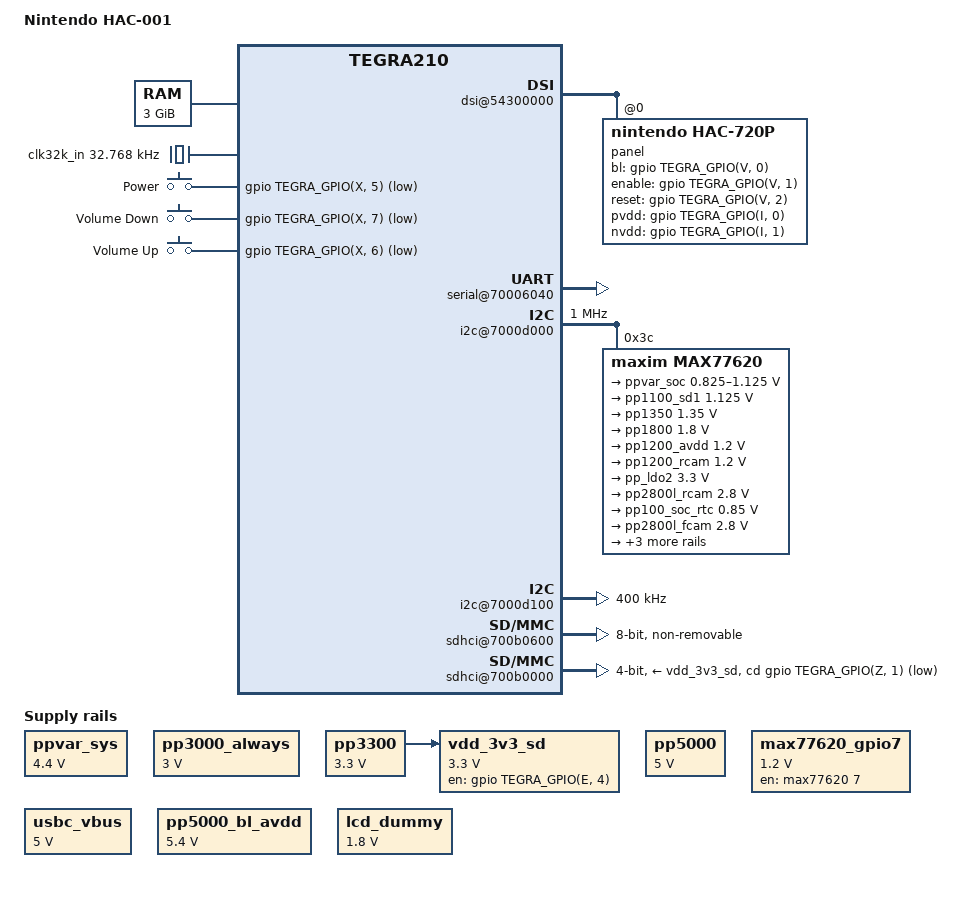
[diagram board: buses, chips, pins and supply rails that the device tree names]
// SPDX-License-Identifier: GPL-2.0
/dts-v1/;

#include <dt-bindings/input/input.h>
#include <dt-bindings/mfd/max77620.h>
#include <dt-bindings/pinctrl/pinctrl-tegra.h>

#include "tegra210.dtsi"

/ {
	model = "Nintendo HAC-001";
	compatible = "nintendo,hac", "nvidia,tegra210";

	aliases {
		serial0 = &uartb;
	};

	chosen {
		bootargs = "earlycon";
		stdout-path = "serial0:115200n8";
	};

	memory {
		device_type = "memory";
		reg = <0x0 0x80000000 0x0 0xc0000000>;
	};

	host1x@50000000 {
		dpaux: dpaux@545c0000 {
			status = "okay";
			
			vdd-supply = <&pp3300>;
		};
	};

	pinmux: pinmux@700008d4 {
		status = "okay";
		pinctrl-names = "default";
		pinctrl-0 = <&pinmux_default>;

		pinmux_default: pinmux {
			/* SFIO Pin Configuration */
			aud_mclk_pbb0 {
				nvidia,pins = "aud_mclk_pbb0";
				nvidia,function = "aud";
				nvidia,pull = <TEGRA_PIN_PULL_NONE>;
				nvidia,tristate = <TEGRA_PIN_DISABLE>;
				nvidia,enable-input = <TEGRA_PIN_DISABLE>;
			};

			dvfs_pwm_pbb1 {
				nvidia,pins = "dvfs_pwm_pbb1";
				nvidia,function = "cldvfs";
				nvidia,pull = <TEGRA_PIN_PULL_NONE>;
				nvidia,tristate = <TEGRA_PIN_ENABLE>;
				nvidia,enable-input = <TEGRA_PIN_DISABLE>;
			};

			dap1_din_pb1 {
				nvidia,pins = "dap1_din_pb1";
				nvidia,function = "i2s1";
				nvidia,pull = <TEGRA_PIN_PULL_NONE>;
				nvidia,tristate = <TEGRA_PIN_DISABLE>;
				nvidia,enable-input = <TEGRA_PIN_ENABLE>;
			};

			dap1_dout_pb2 {
				nvidia,pins = "dap1_dout_pb2";
				nvidia,function = "i2s1";
				nvidia,pull = <TEGRA_PIN_PULL_NONE>;
				nvidia,tristate = <TEGRA_PIN_DISABLE>;
				nvidia,enable-input = <TEGRA_PIN_ENABLE>;
			};

			dap1_fs_pb0 {
				nvidia,pins = "dap1_fs_pb0";
				nvidia,function = "i2s1";
				nvidia,pull = <TEGRA_PIN_PULL_NONE>;
				nvidia,tristate = <TEGRA_PIN_DISABLE>;
				nvidia,enable-input = <TEGRA_PIN_ENABLE>;
			};

			dap1_sclk_pb3 {
				nvidia,pins = "dap1_sclk_pb3";
				nvidia,function = "i2s1";
				nvidia,pull = <TEGRA_PIN_PULL_NONE>;
				nvidia,tristate = <TEGRA_PIN_DISABLE>;
				nvidia,enable-input = <TEGRA_PIN_ENABLE>;
			};

			dmic1_clk_pe0 {
				nvidia,pins = "dmic1_clk_pe0";
				nvidia,function = "dmic1";
				nvidia,pull = <TEGRA_PIN_PULL_NONE>;
				nvidia,tristate = <TEGRA_PIN_DISABLE>;
				nvidia,enable-input = <TEGRA_PIN_DISABLE>;
			};

			dmic1_dat_pe1 {
				nvidia,pins = "dmic1_dat_pe1";
				nvidia,function = "dmic1";
				nvidia,pull = <TEGRA_PIN_PULL_DOWN>;
				nvidia,tristate = <TEGRA_PIN_DISABLE>;
				nvidia,enable-input = <TEGRA_PIN_ENABLE>;
			};

			dmic2_clk_pe2 {
				nvidia,pins = "dmic2_clk_pe2";
				nvidia,function = "dmic2";
				nvidia,pull = <TEGRA_PIN_PULL_NONE>;
				nvidia,tristate = <TEGRA_PIN_DISABLE>;
				nvidia,enable-input = <TEGRA_PIN_DISABLE>;
			};

			dmic2_dat_pe3 {
				nvidia,pins = "dmic2_dat_pe3";
				nvidia,function = "dmic2";
				nvidia,pull = <TEGRA_PIN_PULL_DOWN>;
				nvidia,tristate = <TEGRA_PIN_DISABLE>;
				nvidia,enable-input = <TEGRA_PIN_ENABLE>;
			};

			dmic3_clk_pe4 {
				nvidia,pins = "dmic3_clk_pe4";
				nvidia,pull = <TEGRA_PIN_PULL_NONE>;
				nvidia,tristate = <TEGRA_PIN_DISABLE>;
				nvidia,enable-input = <TEGRA_PIN_ENABLE>;
				nvidia,open-drain = <TEGRA_PIN_DISABLE>;
			};

			dmic3_dat_pe5 {
				nvidia,pins = "dmic3_dat_pe5";
				nvidia,function = "rsvd2";
				nvidia,pull = <TEGRA_PIN_PULL_NONE>;
				nvidia,tristate = <TEGRA_PIN_DISABLE>;
				nvidia,enable-input = <TEGRA_PIN_DISABLE>;
			};

			gen3_i2c_scl_pf0 {
				nvidia,pins = "gen3_i2c_scl_pf0";
				nvidia,function = "i2c3";
				nvidia,pull = <TEGRA_PIN_PULL_NONE>;
				nvidia,tristate = <TEGRA_PIN_DISABLE>;
				nvidia,enable-input = <TEGRA_PIN_ENABLE>;
				nvidia,io-high-voltage = <TEGRA_PIN_DISABLE>;
			};

			gen3_i2c_sda_pf1 {
				nvidia,pins = "gen3_i2c_sda_pf1";
				nvidia,function = "i2c3";
				nvidia,pull = <TEGRA_PIN_PULL_NONE>;
				nvidia,tristate = <TEGRA_PIN_DISABLE>;
				nvidia,enable-input = <TEGRA_PIN_ENABLE>;
				nvidia,io-high-voltage = <TEGRA_PIN_DISABLE>;
			};

			cam_i2c_scl_ps2 {
				nvidia,pins = "cam_i2c_scl_ps2";
				nvidia,function = "i2cvi";
				nvidia,pull = <TEGRA_PIN_PULL_NONE>;
				nvidia,tristate = <TEGRA_PIN_DISABLE>;
				nvidia,enable-input = <TEGRA_PIN_ENABLE>;
				nvidia,io-high-voltage = <TEGRA_PIN_DISABLE>;
			};

			cam_i2c_sda_ps3 {
				nvidia,pins = "cam_i2c_sda_ps3";
				nvidia,function = "i2cvi";
				nvidia,pull = <TEGRA_PIN_PULL_NONE>;
				nvidia,tristate = <TEGRA_PIN_DISABLE>;
				nvidia,enable-input = <TEGRA_PIN_ENABLE>;
				nvidia,io-high-voltage = <TEGRA_PIN_DISABLE>;
			};

			cam1_mclk_ps0 {
				nvidia,pins = "cam1_mclk_ps0";
				nvidia,function = "extperiph3";
				nvidia,pull = <TEGRA_PIN_PULL_NONE>;
				nvidia,tristate = <TEGRA_PIN_DISABLE>;
				nvidia,enable-input = <TEGRA_PIN_DISABLE>;
			};

			cam2_mclk_ps1 {
				nvidia,pins = "cam2_mclk_ps1";
				nvidia,function = "rsvd1";
				nvidia,pull = <TEGRA_PIN_PULL_NONE>;
				nvidia,tristate = <TEGRA_PIN_DISABLE>;
				nvidia,enable-input = <TEGRA_PIN_ENABLE>;
			};

			pex_l0_clkreq_n_pa1 {
				nvidia,pins = "pex_l0_clkreq_n_pa1";
				nvidia,function = "pe0";
				nvidia,pull = <TEGRA_PIN_PULL_NONE>;
				nvidia,tristate = <TEGRA_PIN_DISABLE>;
				nvidia,enable-input = <TEGRA_PIN_ENABLE>;
				nvidia,io-high-voltage = <TEGRA_PIN_ENABLE>;
			};

			pex_l0_rst_n_pa0 {
				nvidia,pins = "pex_l0_rst_n_pa0";
				nvidia,function = "pe0";
				nvidia,pull = <TEGRA_PIN_PULL_NONE>;
				nvidia,tristate = <TEGRA_PIN_DISABLE>;
				nvidia,enable-input = <TEGRA_PIN_DISABLE>;
				nvidia,io-high-voltage = <TEGRA_PIN_ENABLE>;
			};

			pex_l1_clkreq_n_pa4 {
				nvidia,pins = "pex_l1_clkreq_n_pa4";
				nvidia,function = "pe1";
				nvidia,pull = <TEGRA_PIN_PULL_NONE>;
				nvidia,tristate = <TEGRA_PIN_DISABLE>;
				nvidia,enable-input = <TEGRA_PIN_ENABLE>;
				nvidia,io-high-voltage = <TEGRA_PIN_ENABLE>;
			};

			pex_l1_rst_n_pa3 {
				nvidia,pins = "pex_l1_rst_n_pa3";
				nvidia,function = "pe1";
				nvidia,pull = <TEGRA_PIN_PULL_NONE>;
				nvidia,tristate = <TEGRA_PIN_DISABLE>;
				nvidia,enable-input = <TEGRA_PIN_DISABLE>;
				nvidia,io-high-voltage = <TEGRA_PIN_ENABLE>;
			};

			pex_wake_n_pa2 {
				nvidia,pins = "pex_wake_n_pa2";
				nvidia,function = "pe";
				nvidia,pull = <TEGRA_PIN_PULL_NONE>;
				nvidia,tristate = <TEGRA_PIN_DISABLE>;
				nvidia,enable-input = <TEGRA_PIN_ENABLE>;
				nvidia,io-high-voltage = <TEGRA_PIN_ENABLE>;
			};

			sdmmc1_clk_pm0 {
				nvidia,pins = "sdmmc1_clk_pm0";
				nvidia,function = "sdmmc1";
				nvidia,pull = <TEGRA_PIN_PULL_NONE>;
				nvidia,tristate = <TEGRA_PIN_DISABLE>;
				nvidia,enable-input = <TEGRA_PIN_ENABLE>;
			};

			sdmmc1_cmd_pm1 {
				nvidia,pins = "sdmmc1_cmd_pm1";
				nvidia,function = "sdmmc1";
				nvidia,pull = <TEGRA_PIN_PULL_UP>;
				nvidia,tristate = <TEGRA_PIN_DISABLE>;
				nvidia,enable-input = <TEGRA_PIN_ENABLE>;
			};

			sdmmc1_dat0_pm5 {
				nvidia,pins = "sdmmc1_dat0_pm5";
				nvidia,function = "sdmmc1";
				nvidia,pull = <TEGRA_PIN_PULL_UP>;
				nvidia,tristate = <TEGRA_PIN_DISABLE>;
				nvidia,enable-input = <TEGRA_PIN_ENABLE>;
			};

			sdmmc1_dat1_pm4 {
				nvidia,pins = "sdmmc1_dat1_pm4";
				nvidia,function = "sdmmc1";
				nvidia,pull = <TEGRA_PIN_PULL_UP>;
				nvidia,tristate = <TEGRA_PIN_DISABLE>;
				nvidia,enable-input = <TEGRA_PIN_ENABLE>;
			};

			sdmmc1_dat2_pm3 {
				nvidia,pins = "sdmmc1_dat2_pm3";
				nvidia,function = "sdmmc1";
				nvidia,pull = <TEGRA_PIN_PULL_UP>;
				nvidia,tristate = <TEGRA_PIN_DISABLE>;
				nvidia,enable-input = <TEGRA_PIN_ENABLE>;
			};

			sdmmc1_dat3_pm2 {
				nvidia,pins = "sdmmc1_dat3_pm2";
				nvidia,function = "sdmmc1";
				nvidia,pull = <TEGRA_PIN_PULL_UP>;
				nvidia,tristate = <TEGRA_PIN_DISABLE>;
				nvidia,enable-input = <TEGRA_PIN_ENABLE>;
			};

			sdmmc3_clk_pp0 {
				nvidia,pins = "sdmmc3_clk_pp0";
				nvidia,function = "sdmmc3";
				nvidia,pull = <TEGRA_PIN_PULL_NONE>;
				nvidia,tristate = <TEGRA_PIN_DISABLE>;
				nvidia,enable-input = <TEGRA_PIN_DISABLE>;
			};

			sdmmc3_cmd_pp1 {
				nvidia,pins = "sdmmc3_cmd_pp1";
				nvidia,function = "sdmmc3";
				nvidia,pull = <TEGRA_PIN_PULL_UP>;
				nvidia,tristate = <TEGRA_PIN_DISABLE>;
				nvidia,enable-input = <TEGRA_PIN_ENABLE>;
			};

			sdmmc3_dat0_pp5 {
				nvidia,pins = "sdmmc3_dat0_pp5";
				nvidia,function = "sdmmc3";
				nvidia,pull = <TEGRA_PIN_PULL_UP>;
				nvidia,tristate = <TEGRA_PIN_DISABLE>;
				nvidia,enable-input = <TEGRA_PIN_ENABLE>;
			};

			sdmmc3_dat1_pp4 {
				nvidia,pins = "sdmmc3_dat1_pp4";
				nvidia,function = "sdmmc3";
				nvidia,pull = <TEGRA_PIN_PULL_UP>;
				nvidia,tristate = <TEGRA_PIN_DISABLE>;
				nvidia,enable-input = <TEGRA_PIN_ENABLE>;
			};

			sdmmc3_dat2_pp3 {
				nvidia,pins = "sdmmc3_dat2_pp3";
				nvidia,function = "sdmmc3";
				nvidia,pull = <TEGRA_PIN_PULL_UP>;
				nvidia,tristate = <TEGRA_PIN_DISABLE>;
				nvidia,enable-input = <TEGRA_PIN_ENABLE>;
			};

			sdmmc3_dat3_pp2 {
				nvidia,pins = "sdmmc3_dat3_pp2";
				nvidia,function = "sdmmc3";
				nvidia,pull = <TEGRA_PIN_PULL_UP>;
				nvidia,tristate = <TEGRA_PIN_DISABLE>;
				nvidia,enable-input = <TEGRA_PIN_ENABLE>;
			};

			shutdown {
				nvidia,pins = "shutdown";
				nvidia,function = "shutdown";
				nvidia,pull = <TEGRA_PIN_PULL_NONE>;
				nvidia,tristate = <TEGRA_PIN_DISABLE>;
				nvidia,enable-input = <TEGRA_PIN_DISABLE>;
			};

			lcd_te_py2 {
				nvidia,pins = "lcd_te_py2";
				nvidia,function = "displaya";
				nvidia,pull = <TEGRA_PIN_PULL_DOWN>;
				nvidia,tristate = <TEGRA_PIN_DISABLE>;
				nvidia,enable-input = <TEGRA_PIN_ENABLE>;
			};

			lcd_bl_pwm_pv0 {
				nvidia,pins = "lcd_bl_pwm_pv0";
				nvidia,function = "pwm0";
				nvidia,pull = <TEGRA_PIN_PULL_NONE>;
				nvidia,tristate = <TEGRA_PIN_DISABLE>;
				nvidia,enable-input = <TEGRA_PIN_DISABLE>;
			};

			lcd_gpio2_pv4 {
				nvidia,pins = "lcd_gpio2_pv4";
				nvidia,function = "pwm1";
				nvidia,pull = <TEGRA_PIN_PULL_NONE>;
				nvidia,tristate = <TEGRA_PIN_DISABLE>;
				nvidia,enable-input = <TEGRA_PIN_DISABLE>;
			};

			pwr_i2c_scl_py3 {
				nvidia,pins = "pwr_i2c_scl_py3";
				nvidia,function = "i2cpmu";
				nvidia,pull = <TEGRA_PIN_PULL_NONE>;
				nvidia,tristate = <TEGRA_PIN_DISABLE>;
				nvidia,enable-input = <TEGRA_PIN_ENABLE>;
				nvidia,io-high-voltage = <TEGRA_PIN_DISABLE>;
			};

			pwr_i2c_sda_py4 {
				nvidia,pins = "pwr_i2c_sda_py4";
				nvidia,function = "i2cpmu";
				nvidia,pull = <TEGRA_PIN_PULL_NONE>;
				nvidia,tristate = <TEGRA_PIN_DISABLE>;
				nvidia,enable-input = <TEGRA_PIN_ENABLE>;
				nvidia,io-high-voltage = <TEGRA_PIN_DISABLE>;
			};

			clk_32k_in {
				nvidia,pins = "clk_32k_in";
				nvidia,function = "clk";
				nvidia,pull = <TEGRA_PIN_PULL_NONE>;
				nvidia,tristate = <TEGRA_PIN_DISABLE>;
				nvidia,enable-input = <TEGRA_PIN_ENABLE>;
			};

			clk_32k_out_py5 {
				nvidia,pins = "clk_32k_out_py5";
				nvidia,function = "soc";
				nvidia,pull = <TEGRA_PIN_PULL_UP>;
				nvidia,tristate = <TEGRA_PIN_DISABLE>;
				nvidia,enable-input = <TEGRA_PIN_ENABLE>;
			};

			pz1 {
				nvidia,pins = "pz1";
				nvidia,function = "sdmmc1";
				nvidia,pull = <TEGRA_PIN_PULL_UP>;
				nvidia,tristate = <TEGRA_PIN_DISABLE>;
				nvidia,enable-input = <TEGRA_PIN_ENABLE>;
			};

			pz4 {
				nvidia,pins = "pz4";
				nvidia,function = "rsvd1";
				nvidia,pull = <TEGRA_PIN_PULL_NONE>;
				nvidia,tristate = <TEGRA_PIN_DISABLE>;
				nvidia,enable-input = <TEGRA_PIN_DISABLE>;
			};

			pz5 {
				nvidia,pins = "pz5";
				nvidia,function = "soc";
				nvidia,pull = <TEGRA_PIN_PULL_UP>;
				nvidia,tristate = <TEGRA_PIN_DISABLE>;
				nvidia,enable-input = <TEGRA_PIN_ENABLE>;
			};

			clk_req {
				nvidia,pins = "clk_req";
				nvidia,function = "sys";
				nvidia,pull = <TEGRA_PIN_PULL_NONE>;
				nvidia,tristate = <TEGRA_PIN_DISABLE>;
				nvidia,enable-input = <TEGRA_PIN_DISABLE>;
			};

			core_pwr_req {
				nvidia,pins = "core_pwr_req";
				nvidia,function = "core";
				nvidia,pull = <TEGRA_PIN_PULL_NONE>;
				nvidia,tristate = <TEGRA_PIN_DISABLE>;
				nvidia,enable-input = <TEGRA_PIN_DISABLE>;
			};

			cpu_pwr_req {
				nvidia,pins = "cpu_pwr_req";
				nvidia,function = "cpu";
				nvidia,pull = <TEGRA_PIN_PULL_NONE>;
				nvidia,tristate = <TEGRA_PIN_DISABLE>;
				nvidia,enable-input = <TEGRA_PIN_DISABLE>;
			};

			pwr_int_n {
				nvidia,pins = "pwr_int_n";
				nvidia,function = "pmi";
				nvidia,pull = <TEGRA_PIN_PULL_UP>;
				nvidia,tristate = <TEGRA_PIN_DISABLE>;
				nvidia,enable-input = <TEGRA_PIN_ENABLE>;
			};

			dap4_din_pj5 {
				nvidia,pins = "dap4_din_pj5";
				nvidia,function = "i2s4b";
				nvidia,pull = <TEGRA_PIN_PULL_NONE>;
				nvidia,tristate = <TEGRA_PIN_DISABLE>;
				nvidia,enable-input = <TEGRA_PIN_ENABLE>;
			};

			dap4_dout_pj6 {
				nvidia,pins = "dap4_dout_pj6";
				nvidia,function = "i2s4b";
				nvidia,pull = <TEGRA_PIN_PULL_NONE>;
				nvidia,tristate = <TEGRA_PIN_DISABLE>;
				nvidia,enable-input = <TEGRA_PIN_ENABLE>;
			};

			dap4_fs_pj4 {
				nvidia,pins = "dap4_fs_pj4";
				nvidia,function = "i2s4b";
				nvidia,pull = <TEGRA_PIN_PULL_NONE>;
				nvidia,tristate = <TEGRA_PIN_DISABLE>;
				nvidia,enable-input = <TEGRA_PIN_ENABLE>;
			};

			dap4_sclk_pj7 {
				nvidia,pins = "dap4_sclk_pj7";
				nvidia,function = "i2s4b";
				nvidia,pull = <TEGRA_PIN_PULL_NONE>;
				nvidia,tristate = <TEGRA_PIN_DISABLE>;
				nvidia,enable-input = <TEGRA_PIN_DISABLE>;
			};

			gen1_i2c_scl_pj1 {
				nvidia,pins = "gen1_i2c_scl_pj1";
				nvidia,function = "i2c1";
				nvidia,pull = <TEGRA_PIN_PULL_NONE>;
				nvidia,tristate = <TEGRA_PIN_DISABLE>;
				nvidia,enable-input = <TEGRA_PIN_ENABLE>;
				nvidia,io-high-voltage = <TEGRA_PIN_DISABLE>;
			};

			gen1_i2c_sda_pj0 {
				nvidia,pins = "gen1_i2c_sda_pj0";
				nvidia,function = "i2c1";
				nvidia,pull = <TEGRA_PIN_PULL_NONE>;
				nvidia,tristate = <TEGRA_PIN_DISABLE>;
				nvidia,enable-input = <TEGRA_PIN_ENABLE>;
				nvidia,io-high-voltage = <TEGRA_PIN_DISABLE>;
			};

			gen2_i2c_scl_pj2 {
				nvidia,pins = "gen2_i2c_scl_pj2";
				nvidia,function = "i2c2";
				nvidia,pull = <TEGRA_PIN_PULL_NONE>;
				nvidia,tristate = <TEGRA_PIN_DISABLE>;
				nvidia,enable-input = <TEGRA_PIN_ENABLE>;
				nvidia,io-high-voltage = <TEGRA_PIN_ENABLE>;
			};

			gen2_i2c_sda_pj3 {
				nvidia,pins = "gen2_i2c_sda_pj3";
				nvidia,function = "i2c2";
				nvidia,pull = <TEGRA_PIN_PULL_NONE>;
				nvidia,tristate = <TEGRA_PIN_DISABLE>;
				nvidia,enable-input = <TEGRA_PIN_ENABLE>;
				nvidia,io-high-voltage = <TEGRA_PIN_ENABLE>;
			};

			uart1_tx_pu0 {
				nvidia,pins = "uart1_tx_pu0";
				nvidia,function = "uarta";
				nvidia,pull = <TEGRA_PIN_PULL_NONE>;
				nvidia,tristate = <TEGRA_PIN_DISABLE>;
				nvidia,enable-input = <TEGRA_PIN_DISABLE>;
			};

			uart1_rx_pu1 {
				nvidia,pins = "uart1_rx_pu1";
				nvidia,function = "uarta";
				nvidia,pull = <TEGRA_PIN_PULL_UP>;
				nvidia,tristate = <TEGRA_PIN_DISABLE>;
				nvidia,enable-input = <TEGRA_PIN_ENABLE>;
			};

			uart1_rts_pu2 {
				nvidia,pins = "uart1_rts_pu2";
				nvidia,function = "uarta";
				nvidia,pull = <TEGRA_PIN_PULL_NONE>;
				nvidia,tristate = <TEGRA_PIN_DISABLE>;
				nvidia,enable-input = <TEGRA_PIN_DISABLE>;
			};

			uart1_cts_pu3 {
				nvidia,pins = "uart1_cts_pu3";
				nvidia,function = "uarta";
				nvidia,pull = <TEGRA_PIN_PULL_UP>;
				nvidia,tristate = <TEGRA_PIN_DISABLE>;
				nvidia,enable-input = <TEGRA_PIN_ENABLE>;
			};

			jtag_rtck {
				nvidia,pins = "jtag_rtck";
				nvidia,function = "jtag";
				nvidia,pull = <TEGRA_PIN_PULL_NONE>;
				nvidia,tristate = <TEGRA_PIN_DISABLE>;
				nvidia,enable-input = <TEGRA_PIN_DISABLE>;
			};

			pk0 {
				nvidia,pins = "pk0";
				nvidia,function = "i2s5b";
				nvidia,pull = <TEGRA_PIN_PULL_UP>;
				nvidia,tristate = <TEGRA_PIN_DISABLE>;
				nvidia,enable-input = <TEGRA_PIN_ENABLE>;
			};

			pk1 {
				nvidia,pins = "pk1";
				nvidia,function = "i2s5b";
				nvidia,pull = <TEGRA_PIN_PULL_UP>;
				nvidia,tristate = <TEGRA_PIN_DISABLE>;
				nvidia,enable-input = <TEGRA_PIN_ENABLE>;
			};

			pk2 {
				nvidia,pins = "pk2";
				nvidia,function = "i2s5b";
				nvidia,pull = <TEGRA_PIN_PULL_UP>;
				nvidia,tristate = <TEGRA_PIN_DISABLE>;
				nvidia,enable-input = <TEGRA_PIN_ENABLE>;
			};

			pk3 {
				nvidia,pins = "pk3";
				nvidia,function = "i2s5b";
				nvidia,pull = <TEGRA_PIN_PULL_UP>;
				nvidia,tristate = <TEGRA_PIN_DISABLE>;
				nvidia,enable-input = <TEGRA_PIN_ENABLE>;
			};

			pl1 {
				nvidia,pins = "pl1";
				nvidia,function = "soc";
				nvidia,pull = <TEGRA_PIN_PULL_UP>;
				nvidia,tristate = <TEGRA_PIN_DISABLE>;
				nvidia,enable-input = <TEGRA_PIN_ENABLE>;
			};

			spi1_mosi_pc0 {
				nvidia,pins = "spi1_mosi_pc0";
				nvidia,function = "spi1";
				nvidia,pull = <TEGRA_PIN_PULL_DOWN>;
				nvidia,tristate = <TEGRA_PIN_DISABLE>;
				nvidia,enable-input = <TEGRA_PIN_ENABLE>;
			};

			spi1_miso_pc1 {
				nvidia,pins = "spi1_miso_pc1";
				nvidia,function = "spi1";
				nvidia,pull = <TEGRA_PIN_PULL_DOWN>;
				nvidia,tristate = <TEGRA_PIN_DISABLE>;
				nvidia,enable-input = <TEGRA_PIN_ENABLE>;
			};

			spi1_sck_pc2 {
				nvidia,pins = "spi1_sck_pc2";
				nvidia,function = "spi1";
				nvidia,pull = <TEGRA_PIN_PULL_DOWN>;
				nvidia,tristate = <TEGRA_PIN_DISABLE>;
				nvidia,enable-input = <TEGRA_PIN_ENABLE>;
			};

			spi1_cs0_pc3 {
				nvidia,pins = "spi1_cs0_pc3";
				nvidia,function = "spi1";
				nvidia,pull = <TEGRA_PIN_PULL_UP>;
				nvidia,tristate = <TEGRA_PIN_DISABLE>;
				nvidia,enable-input = <TEGRA_PIN_ENABLE>;
			};

			spi1_cs1_pc4 {
				nvidia,pins = "spi1_cs1_pc4";
				nvidia,function = "spi1";
				nvidia,pull = <TEGRA_PIN_PULL_UP>;
				nvidia,tristate = <TEGRA_PIN_DISABLE>;
				nvidia,enable-input = <TEGRA_PIN_ENABLE>;
			};

			spi4_mosi_pc7 {
				nvidia,pins = "spi4_mosi_pc7";
				nvidia,function = "spi4";
				nvidia,pull = <TEGRA_PIN_PULL_NONE>;
				nvidia,tristate = <TEGRA_PIN_DISABLE>;
				nvidia,enable-input = <TEGRA_PIN_DISABLE>;
			};

			spi4_miso_pd0 {
				nvidia,pins = "spi4_miso_pd0";
				nvidia,function = "spi4";
				nvidia,pull = <TEGRA_PIN_PULL_NONE>;
				nvidia,tristate = <TEGRA_PIN_DISABLE>;
				nvidia,enable-input = <TEGRA_PIN_ENABLE>;
			};

			spi4_sck_pc5 {
				nvidia,pins = "spi4_sck_pc5";
				nvidia,function = "spi4";
				nvidia,pull = <TEGRA_PIN_PULL_NONE>;
				nvidia,tristate = <TEGRA_PIN_DISABLE>;
				nvidia,enable-input = <TEGRA_PIN_DISABLE>;
			};

			spi4_cs0_pc6 {
				nvidia,pins = "spi4_cs0_pc6";
				nvidia,function = "spi4";
				nvidia,pull = <TEGRA_PIN_PULL_NONE>;
				nvidia,tristate = <TEGRA_PIN_DISABLE>;
				nvidia,enable-input = <TEGRA_PIN_DISABLE>;
			};

			uart3_tx_pd1 {
				nvidia,pins = "uart3_tx_pd1";
				nvidia,function = "uartc";
				nvidia,pull = <TEGRA_PIN_PULL_NONE>;
				nvidia,tristate = <TEGRA_PIN_DISABLE>;
				nvidia,enable-input = <TEGRA_PIN_DISABLE>;
			};

			uart3_rx_pd2 {
				nvidia,pins = "uart3_rx_pd2";
				nvidia,function = "uartc";
				nvidia,pull = <TEGRA_PIN_PULL_UP>;
				nvidia,tristate = <TEGRA_PIN_DISABLE>;
				nvidia,enable-input = <TEGRA_PIN_ENABLE>;
			};

			uart3_rts_pd3 {
				nvidia,pins = "uart3_rts_pd3";
				nvidia,function = "uartc";
				nvidia,pull = <TEGRA_PIN_PULL_NONE>;
				nvidia,tristate = <TEGRA_PIN_DISABLE>;
				nvidia,enable-input = <TEGRA_PIN_DISABLE>;
			};

			uart3_cts_pd4 {
				nvidia,pins = "uart3_cts_pd4";
				nvidia,function = "uartc";
				nvidia,pull = <TEGRA_PIN_PULL_UP>;
				nvidia,tristate = <TEGRA_PIN_DISABLE>;
				nvidia,enable-input = <TEGRA_PIN_ENABLE>;
			};

			uart4_tx_pi4 {
				nvidia,pins = "uart4_tx_pi4";
				nvidia,function = "uartd";
				nvidia,pull = <TEGRA_PIN_PULL_NONE>;
				nvidia,tristate = <TEGRA_PIN_DISABLE>;
				nvidia,enable-input = <TEGRA_PIN_DISABLE>;
			};

			uart4_rx_pi5 {
				nvidia,pins = "uart4_rx_pi5";
				nvidia,function = "uartd";
				nvidia,pull = <TEGRA_PIN_PULL_NONE>;
				nvidia,tristate = <TEGRA_PIN_DISABLE>;
				nvidia,enable-input = <TEGRA_PIN_ENABLE>;
			};

			uart4_rts_pi6 {
				nvidia,pins = "uart4_rts_pi6";
				nvidia,function = "uartd";
				nvidia,pull = <TEGRA_PIN_PULL_NONE>;
				nvidia,tristate = <TEGRA_PIN_DISABLE>;
				nvidia,enable-input = <TEGRA_PIN_DISABLE>;
			};

			uart4_cts_pi7 {
				nvidia,pins = "uart4_cts_pi7";
				nvidia,function = "uartd";
				nvidia,pull = <TEGRA_PIN_PULL_NONE>;
				nvidia,tristate = <TEGRA_PIN_DISABLE>;
				nvidia,enable-input = <TEGRA_PIN_ENABLE>;
			};

			dap2_din_paa2 {
				nvidia,pins = "dap2_din_paa2";
				nvidia,function = "i2s2";
				nvidia,pull = <TEGRA_PIN_PULL_NONE>;
				nvidia,tristate = <TEGRA_PIN_DISABLE>;
				nvidia,enable-input = <TEGRA_PIN_ENABLE>;
			};

			dap2_dout_paa3 {
				nvidia,pins = "dap2_dout_paa3";
				nvidia,function = "i2s2";
				nvidia,pull = <TEGRA_PIN_PULL_NONE>;
				nvidia,tristate = <TEGRA_PIN_DISABLE>;
				nvidia,enable-input = <TEGRA_PIN_ENABLE>;
			};

			dap2_fs_paa0 {
				nvidia,pins = "dap2_fs_paa0";
				nvidia,function = "i2s2";
				nvidia,pull = <TEGRA_PIN_PULL_NONE>;
				nvidia,tristate = <TEGRA_PIN_DISABLE>;
				nvidia,enable-input = <TEGRA_PIN_ENABLE>;
			};

			dap2_sclk_paa1 {
				nvidia,pins = "dap2_sclk_paa1";
				nvidia,function = "i2s2";
				nvidia,pull = <TEGRA_PIN_PULL_NONE>;
				nvidia,tristate = <TEGRA_PIN_DISABLE>;
				nvidia,enable-input = <TEGRA_PIN_ENABLE>;
			};

			usb_vbus_en0_pcc4 {
				nvidia,pins = "usb_vbus_en0_pcc4";
				nvidia,function = "usb";
				nvidia,pull = <TEGRA_PIN_PULL_NONE>;
				nvidia,tristate = <TEGRA_PIN_DISABLE>;
				nvidia,enable-input = <TEGRA_PIN_ENABLE>;
				nvidia,io-high-voltage = <TEGRA_PIN_ENABLE>;
			};

			usb_vbus_en1_pcc5 {
				nvidia,pins = "usb_vbus_en1_pcc5";
				nvidia,function = "rsvd1";
				nvidia,pull = <TEGRA_PIN_PULL_NONE>;
				nvidia,tristate = <TEGRA_PIN_DISABLE>;
				nvidia,enable-input = <TEGRA_PIN_DISABLE>;
				nvidia,io-high-voltage = <TEGRA_PIN_DISABLE>;
			};

			hdmi_cec_pcc0 {
				nvidia,pins = "hdmi_cec_pcc0";
				nvidia,function = "cec";
				nvidia,pull = <TEGRA_PIN_PULL_NONE>;
				nvidia,tristate = <TEGRA_PIN_DISABLE>;
				nvidia,enable-input = <TEGRA_PIN_ENABLE>;
				nvidia,io-high-voltage = <TEGRA_PIN_ENABLE>;
			};

			/* GPIO Pin Configuration */
			dvfs_clk_pbb2 {
				nvidia,pins = "dvfs_clk_pbb2";
				nvidia,function = "rsvd0";
				nvidia,pull = <TEGRA_PIN_PULL_NONE>;
				nvidia,tristate = <TEGRA_PIN_DISABLE>;
				nvidia,enable-input = <TEGRA_PIN_DISABLE>;
			};

			gpio_x1_aud_pbb3 {
				nvidia,pins = "gpio_x1_aud_pbb3";
				nvidia,function = "rsvd0";
				nvidia,pull = <TEGRA_PIN_PULL_NONE>;
				nvidia,tristate = <TEGRA_PIN_DISABLE>;
				nvidia,enable-input = <TEGRA_PIN_DISABLE>;
			};

			gpio_x3_aud_pbb4 {
				nvidia,pins = "gpio_x3_aud_pbb4";
				nvidia,function = "rsvd0";
				nvidia,pull = <TEGRA_PIN_PULL_UP>;
				nvidia,tristate = <TEGRA_PIN_DISABLE>;
				nvidia,enable-input = <TEGRA_PIN_ENABLE>;
			};

			pe6 {
				nvidia,pins = "pe6";
				nvidia,function = "rsvd0";
				nvidia,pull = <TEGRA_PIN_PULL_UP>;
				nvidia,tristate = <TEGRA_PIN_DISABLE>;
				nvidia,enable-input = <TEGRA_PIN_ENABLE>;
			};

			cam_rst_ps4 {
				nvidia,pins = "cam_rst_ps4";
				nvidia,function = "rsvd1";
				nvidia,pull = <TEGRA_PIN_PULL_NONE>;
				nvidia,tristate = <TEGRA_PIN_DISABLE>;
				nvidia,enable-input = <TEGRA_PIN_DISABLE>;
			};

			cam_af_en_ps5 {
				nvidia,pins = "cam_af_en_ps5";
				nvidia,function = "rsvd2";
				nvidia,pull = <TEGRA_PIN_PULL_NONE>;
				nvidia,tristate = <TEGRA_PIN_DISABLE>;
				nvidia,enable-input = <TEGRA_PIN_DISABLE>;
			};

			cam_flash_en_ps6 {
				nvidia,pins = "cam_flash_en_ps6";
				nvidia,function = "rsvd2";
				nvidia,pull = <TEGRA_PIN_PULL_NONE>;
				nvidia,tristate = <TEGRA_PIN_DISABLE>;
				nvidia,enable-input = <TEGRA_PIN_DISABLE>;
			};

			cam1_pwdn_ps7 {
				nvidia,pins = "cam1_pwdn_ps7";
				nvidia,function = "rsvd1";
				nvidia,pull = <TEGRA_PIN_PULL_UP>;
				nvidia,tristate = <TEGRA_PIN_DISABLE>;
				nvidia,enable-input = <TEGRA_PIN_ENABLE>;
			};

			cam2_pwdn_pt0 {
				nvidia,pins = "cam2_pwdn_pt0";
				nvidia,function = "rsvd1";
				nvidia,pull = <TEGRA_PIN_PULL_NONE>;
				nvidia,tristate = <TEGRA_PIN_DISABLE>;
				nvidia,enable-input = <TEGRA_PIN_DISABLE>;
			};

			cam1_strobe_pt1 {
				nvidia,pins = "cam1_strobe_pt1";
				nvidia,function = "rsvd1";
				nvidia,pull = <TEGRA_PIN_PULL_NONE>;
				nvidia,tristate = <TEGRA_PIN_DISABLE>;
				nvidia,enable-input = <TEGRA_PIN_DISABLE>;
			};

			sata_led_active_pa5 {
				nvidia,pins = "sata_led_active_pa5";
				nvidia,function = "rsvd1";
				nvidia,pull = <TEGRA_PIN_PULL_NONE>;
				nvidia,tristate = <TEGRA_PIN_DISABLE>;
				nvidia,enable-input = <TEGRA_PIN_DISABLE>;
			};

			als_prox_int_px3 {
				nvidia,pins = "als_prox_int_px3";
				nvidia,function = "rsvd0";
				nvidia,pull = <TEGRA_PIN_PULL_UP>;
				nvidia,tristate = <TEGRA_PIN_DISABLE>;
				nvidia,enable-input = <TEGRA_PIN_ENABLE>;
			};

			temp_alert_px4 {
				nvidia,pins = "temp_alert_px4";
				nvidia,function = "rsvd0";
				nvidia,pull = <TEGRA_PIN_PULL_UP>;
				nvidia,tristate = <TEGRA_PIN_DISABLE>;
				nvidia,enable-input = <TEGRA_PIN_ENABLE>;
			};

			motion_int_px2 {
				nvidia,pins = "motion_int_px2";
				nvidia,function = "rsvd0";
				nvidia,pull = <TEGRA_PIN_PULL_UP>;
				nvidia,tristate = <TEGRA_PIN_DISABLE>;
				nvidia,enable-input = <TEGRA_PIN_ENABLE>;
			};

			touch_rst_pv6 {
				nvidia,pins = "touch_rst_pv6";
				nvidia,function = "rsvd0";
				nvidia,pull = <TEGRA_PIN_PULL_NONE>;
				nvidia,tristate = <TEGRA_PIN_DISABLE>;
				nvidia,enable-input = <TEGRA_PIN_ENABLE>;
			};

			touch_clk_pv7 {
				nvidia,pins = "touch_clk_pv7";
				nvidia,function = "touch";
				nvidia,pull = <TEGRA_PIN_PULL_NONE>;
				nvidia,tristate = <TEGRA_PIN_DISABLE>;
				nvidia,enable-input = <TEGRA_PIN_DISABLE>;
			};

			touch_int_px1 {
				nvidia,pins = "touch_int_px1";
				nvidia,function = "rsvd0";
				nvidia,pull = <TEGRA_PIN_PULL_UP>;
				nvidia,tristate = <TEGRA_PIN_DISABLE>;
				nvidia,enable-input = <TEGRA_PIN_ENABLE>;
			};

			modem_wake_ap_px0 {
				nvidia,pins = "modem_wake_ap_px0";
				nvidia,function = "rsvd0";
				nvidia,pull = <TEGRA_PIN_PULL_UP>;
				nvidia,tristate = <TEGRA_PIN_DISABLE>;
				nvidia,enable-input = <TEGRA_PIN_ENABLE>;
			};

			button_power_on_px5 {
				nvidia,pins = "button_power_on_px5";
				nvidia,function = "rsvd0";
				nvidia,pull = <TEGRA_PIN_PULL_UP>;
				nvidia,tristate = <TEGRA_PIN_DISABLE>;
				nvidia,enable-input = <TEGRA_PIN_ENABLE>;
			};

			button_vol_up_px6 {
				nvidia,pins = "button_vol_up_px6";
				nvidia,function = "rsvd0";
				nvidia,pull = <TEGRA_PIN_PULL_UP>;
				nvidia,tristate = <TEGRA_PIN_DISABLE>;
				nvidia,enable-input = <TEGRA_PIN_ENABLE>;
			};

			button_vol_down_px7 {
				nvidia,pins = "button_vol_down_px7";
				nvidia,function = "rsvd0";
				nvidia,pull = <TEGRA_PIN_PULL_UP>;
				nvidia,tristate = <TEGRA_PIN_DISABLE>;
				nvidia,enable-input = <TEGRA_PIN_ENABLE>;
			};

			button_home_py1 {
				nvidia,pins = "button_home_py1";
				nvidia,function = "rsvd0";
				nvidia,pull = <TEGRA_PIN_PULL_UP>;
				nvidia,tristate = <TEGRA_PIN_DISABLE>;
				nvidia,enable-input = <TEGRA_PIN_ENABLE>;
			};

			lcd_bl_en_pv1 {
				nvidia,pins = "lcd_bl_en_pv1";
				nvidia,pull = <TEGRA_PIN_PULL_NONE>;
				nvidia,tristate = <TEGRA_PIN_DISABLE>;
				nvidia,enable-input = <TEGRA_PIN_DISABLE>;
				nvidia,open-drain = <TEGRA_PIN_DISABLE>;
			};

			lcd_rst_pv2 {
				nvidia,pins = "lcd_rst_pv2";
				nvidia,pull = <TEGRA_PIN_PULL_NONE>;
				nvidia,tristate = <TEGRA_PIN_DISABLE>;
				nvidia,enable-input = <TEGRA_PIN_DISABLE>;
				nvidia,open-drain = <TEGRA_PIN_DISABLE>;
			};

			ap_ready_pv5 {
				nvidia,pins = "ap_ready_pv5";
				nvidia,function = "rsvd0";
				nvidia,pull = <TEGRA_PIN_PULL_NONE>;
				nvidia,tristate = <TEGRA_PIN_DISABLE>;
				nvidia,enable-input = <TEGRA_PIN_DISABLE>;
			};

			pz0 {
				nvidia,pins = "pz0";
				nvidia,function = "rsvd1";
				nvidia,pull = <TEGRA_PIN_PULL_UP>;
				nvidia,tristate = <TEGRA_PIN_DISABLE>;
				nvidia,enable-input = <TEGRA_PIN_ENABLE>;
			};

			pz3 {
				nvidia,pins = "pz3";
				nvidia,function = "rsvd1";
				nvidia,pull = <TEGRA_PIN_PULL_NONE>;
				nvidia,tristate = <TEGRA_PIN_DISABLE>;
				nvidia,enable-input = <TEGRA_PIN_DISABLE>;
			};

			uart2_cts_pg3 {
				nvidia,pins = "uart2_cts_pg3";
				nvidia,function = "rsvd2";
				nvidia,pull = <TEGRA_PIN_PULL_NONE>;
				nvidia,tristate = <TEGRA_PIN_DISABLE>;
				nvidia,enable-input = <TEGRA_PIN_DISABLE>;
			};

			pk4 {
				nvidia,pins = "pk4";
				nvidia,function = "rsvd1";
				nvidia,pull = <TEGRA_PIN_PULL_NONE>;
				nvidia,tristate = <TEGRA_PIN_DISABLE>;
				nvidia,enable-input = <TEGRA_PIN_ENABLE>;
			};

			pk5 {
				nvidia,pins = "pk5";
				nvidia,function = "rsvd1";
				nvidia,pull = <TEGRA_PIN_PULL_NONE>;
				nvidia,tristate = <TEGRA_PIN_DISABLE>;
				nvidia,enable-input = <TEGRA_PIN_DISABLE>;
			};

			pk6 {
				nvidia,pins = "pk6";
				nvidia,function = "rsvd1";
				nvidia,pull = <TEGRA_PIN_PULL_UP>;
				nvidia,tristate = <TEGRA_PIN_DISABLE>;
				nvidia,enable-input = <TEGRA_PIN_ENABLE>;
			};

			pk7 {
				nvidia,pins = "pk7";
				nvidia,function = "rsvd1";
				nvidia,pull = <TEGRA_PIN_PULL_UP>;
				nvidia,tristate = <TEGRA_PIN_DISABLE>;
				nvidia,enable-input = <TEGRA_PIN_ENABLE>;
			};

			pl0 {
				nvidia,pins = "pl0";
				nvidia,function = "rsvd0";
				nvidia,pull = <TEGRA_PIN_PULL_NONE>;
				nvidia,tristate = <TEGRA_PIN_DISABLE>;
				nvidia,enable-input = <TEGRA_PIN_DISABLE>;
			};

			wifi_en_ph0 {
				nvidia,pins = "wifi_en_ph0";
				nvidia,function = "rsvd0";
				nvidia,pull = <TEGRA_PIN_PULL_NONE>;
				nvidia,tristate = <TEGRA_PIN_ENABLE>;
				nvidia,enable-input = <TEGRA_PIN_ENABLE>;
			};

			wifi_wake_ap_ph2 {
				nvidia,pins = "wifi_wake_ap_ph2";
				nvidia,function = "rsvd0";
				nvidia,pull = <TEGRA_PIN_PULL_UP>;
				nvidia,tristate = <TEGRA_PIN_DISABLE>;
				nvidia,enable-input = <TEGRA_PIN_ENABLE>;
			};

			ap_wake_bt_ph3 {
				nvidia,pins = "ap_wake_bt_ph3";
				nvidia,function = "rsvd0";
				nvidia,pull = <TEGRA_PIN_PULL_NONE>;
				nvidia,tristate = <TEGRA_PIN_DISABLE>;
				nvidia,enable-input = <TEGRA_PIN_DISABLE>;
			};

			bt_rst_ph4 {
				nvidia,pins = "bt_rst_ph4";
				nvidia,function = "rsvd0";
				nvidia,pull = <TEGRA_PIN_PULL_NONE>;
				nvidia,tristate = <TEGRA_PIN_DISABLE>;
				nvidia,enable-input = <TEGRA_PIN_DISABLE>;
			};

			bt_wake_ap_ph5 {
				nvidia,pins = "bt_wake_ap_ph5";
				nvidia,function = "rsvd0";
				nvidia,pull = <TEGRA_PIN_PULL_UP>;
				nvidia,tristate = <TEGRA_PIN_DISABLE>;
				nvidia,enable-input = <TEGRA_PIN_ENABLE>;
			};

			ph6 {
				nvidia,pins = "ph6";
				nvidia,function = "rsvd0";
				nvidia,pull = <TEGRA_PIN_PULL_NONE>;
				nvidia,tristate = <TEGRA_PIN_DISABLE>;
				nvidia,enable-input = <TEGRA_PIN_DISABLE>;
			};

			ap_wake_nfc_ph7 {
				nvidia,pins = "ap_wake_nfc_ph7";
				nvidia,function = "rsvd0";
				nvidia,pull = <TEGRA_PIN_PULL_NONE>;
				nvidia,tristate = <TEGRA_PIN_ENABLE>;
				nvidia,enable-input = <TEGRA_PIN_ENABLE>;
			};

			nfc_en_pi0 {
				nvidia,pins = "nfc_en_pi0";
				nvidia,function = "rsvd0";
				nvidia,pull = <TEGRA_PIN_PULL_NONE>;
				nvidia,tristate = <TEGRA_PIN_DISABLE>;
				nvidia,enable-input = <TEGRA_PIN_DISABLE>;
			};

			nfc_int_pi1 {
				nvidia,pins = "nfc_int_pi1";
				nvidia,function = "rsvd0";
				nvidia,pull = <TEGRA_PIN_PULL_NONE>;
				nvidia,tristate = <TEGRA_PIN_DISABLE>;
				nvidia,enable-input = <TEGRA_PIN_DISABLE>;
			};

			gps_en_pi2 {
				nvidia,pins = "gps_en_pi2";
				nvidia,function = "rsvd0";
				nvidia,pull = <TEGRA_PIN_PULL_NONE>;
				nvidia,tristate = <TEGRA_PIN_DISABLE>;
				nvidia,enable-input = <TEGRA_PIN_DISABLE>;
			};

			pcc7 {
				nvidia,pins = "pcc7";
				nvidia,function = "rsvd0";
				nvidia,pull = <TEGRA_PIN_PULL_NONE>;
				nvidia,tristate = <TEGRA_PIN_DISABLE>;
				nvidia,enable-input = <TEGRA_PIN_DISABLE>;
				nvidia,io-high-voltage = <TEGRA_PIN_DISABLE>;
			};

			dp_hpd0_pcc6 {
				nvidia,pins = "dp_hpd0_pcc6";
				nvidia,function = "dp";
				nvidia,pull = <TEGRA_PIN_PULL_DOWN>;
				nvidia,tristate = <TEGRA_PIN_ENABLE>;
				nvidia,enable-input = <TEGRA_PIN_ENABLE>;
			};

			hdmi_int_dp_hpd_pcc1 {
				nvidia,pins = "hdmi_int_dp_hpd_pcc1";
				nvidia,function = "dp";
				nvidia,pull = <TEGRA_PIN_PULL_DOWN>;
				nvidia,tristate = <TEGRA_PIN_ENABLE>;
				nvidia,enable-input = <TEGRA_PIN_ENABLE>;
				nvidia,io-high-voltage = <TEGRA_PIN_DISABLE>;
			};
		};
	};

	serial@70006040 {
		status = "okay";
	};

	i2c@7000d000 {
		status = "okay";
		clock-frequency = <1000000>;

		max77620: max77620@3c {
			compatible = "maxim,max77620";
			reg = <0x3c>;
			interrupts = <0 86 IRQ_TYPE_NONE>;

			#interrupt-cells = <2>;
			interrupt-controller;

			gpio-controller;
			#gpio-cells = <2>;

			pinctrl-names = "default";
			pinctrl-0 = <&max77620_default>;

			max77620_default: pinmux@0 {
				pin_gpio {
					pins = "gpio0", "gpio1", "gpio2", "gpio7";
					function = "gpio";
				};

				/*
				 * GPIO3 is used to en_pp3300, and it is part of power
				 * sequence, So it must be sequenced up (automatically
				 * set by OTP) and down properly.
				 */
				pin_gpio3 {
					pins = "gpio3";
					function = "fps-out";
					drive-open-drain = <1>;
					maxim,active-fps-source = <MAX77620_FPS_SRC_0>;
					maxim,active-fps-power-up-slot = <4>;
					maxim,active-fps-power-down-slot = <2>;
				};

				pin_gpio5_6 {
					pins = "gpio5", "gpio6";
					function = "gpio";
					drive-push-pull = <1>;
				};

				pin_32k {
					pins = "gpio4";
					function = "32k-out1";
				};
			};

			fps {
				fps0 {
					maxim,shutdown-fps-time-period-us = <5120>;
					maxim,fps-event-source = <MAX77620_FPS_EVENT_SRC_EN0>;
				};

				fps1 {
					maxim,shutdown-fps-time-period-us = <5120>;
					maxim,fps-event-source = <MAX77620_FPS_EVENT_SRC_EN1>;
					maxim,device-state-on-disabled-event = <MAX77620_FPS_INACTIVE_STATE_SLEEP>;
				};

				fps2 {
					maxim,fps-event-source = <MAX77620_FPS_EVENT_SRC_EN0>;
				};
			};

			regulators {
				in-ldo0-1-supply = <&pp1350>;
				in-ldo2-supply = <&pp3300>;
				in-ldo3-5-supply = <&pp3300>;
				in-ldo7-8-supply = <&pp1350>;

				ppvar_soc: sd0 {
					regulator-name = "PPVAR_SOC";
					regulator-min-microvolt = <825000>;
					regulator-max-microvolt = <1125000>;
					regulator-always-on;
					regulator-boot-on;
					maxim,active-fps-source = <MAX77620_FPS_SRC_1>;
					maxim,active-fps-power-up-slot = <1>;
					maxim,active-fps-power-down-slot = <7>;
				};

				pp1100_sd1: sd1 {
					regulator-name = "PP1100";
					regulator-min-microvolt = <1125000>;
					regulator-max-microvolt = <1125000>;
					regulator-always-on;
					regulator-boot-on;
					maxim,active-fps-source = <MAX77620_FPS_SRC_0>;
					maxim,active-fps-power-up-slot = <5>;
					maxim,active-fps-power-down-slot = <1>;
				};

				pp1350: sd2 {
					regulator-name = "PP1350";
					regulator-min-microvolt = <1350000>;
					regulator-max-microvolt = <1350000>;
					regulator-always-on;
					regulator-boot-on;
					maxim,active-fps-source = <MAX77620_FPS_SRC_NONE>;
					maxim,active-fps-power-up-slot = <2>;
					maxim,active-fps-power-down-slot = <5>;
				};

				pp1800: sd3 {
					regulator-name = "PP1800";
					regulator-min-microvolt = <1800000>;
					regulator-max-microvolt = <1800000>;
					regulator-always-on;
					regulator-boot-on;
					maxim,active-fps-source = <MAX77620_FPS_SRC_0>;
					maxim,active-fps-power-up-slot = <3>;
					maxim,active-fps-power-down-slot = <3>;
				};

				pp1200_avdd: ldo0 {
					regulator-name = "PP1200_AVDD";
					regulator-min-microvolt = <1200000>;
					regulator-max-microvolt = <1200000>;
					regulator-enable-ramp-delay = <26>;
					regulator-ramp-delay = <100000>;
					regulator-always-on;
					regulator-boot-on;
					maxim,active-fps-source = <MAX77620_FPS_SRC_NONE>;
					maxim,active-fps-power-up-slot = <0>;
					maxim,active-fps-power-down-slot = <7>;
				};

				pp1200_rcam: ldo1 {
					regulator-name = "PP1200_RCAM";
					regulator-min-microvolt = <1200000>;
					regulator-max-microvolt = <1200000>;
					regulator-enable-ramp-delay = <22>;
					regulator-ramp-delay = <100000>;
					maxim,active-fps-source = <MAX77620_FPS_SRC_NONE>;
					maxim,active-fps-power-up-slot = <0>;
					maxim,active-fps-power-down-slot = <7>;
				};

				pp_ldo2: ldo2 {
					regulator-name = "VDDIO_SDMMC";
					/*
					 * Technically this supply should have
					 * a supported range from 1.8 - 3.3 V.
					 * However, that would cause the SDHCI
					 * driver to request 2.7 V upon access
					 * and that in turn will cause traffic
					 * to be broken. Leave it at 3.3 V for
					 * now.
					 */
					regulator-min-microvolt = <3300000>;
					regulator-max-microvolt = <3300000>;
					regulator-always-on;
					regulator-boot-on;

					regulator-enable-ramp-delay = <62>;
					regulator-ramp-delay = <100000>;

					maxim,active-fps-source = <MAX77620_FPS_SRC_NONE>;
				};

				pp2800l_rcam: ldo3 {
					regulator-name = "PP2800L_RCAM";
					regulator-min-microvolt = <2800000>;
					regulator-max-microvolt = <2800000>;
					regulator-enable-ramp-delay = <50>;
					regulator-ramp-delay = <100000>;
					maxim,active-fps-source = <MAX77620_FPS_SRC_NONE>;
					maxim,active-fps-power-up-slot = <0>;
					maxim,active-fps-power-down-slot = <7>;
				};

				pp100_soc_rtc: ldo4 {
					regulator-name = "PP1100_SOC_RTC";
					regulator-min-microvolt = <850000>;
					regulator-max-microvolt = <850000>;
					regulator-enable-ramp-delay = <22>;
					regulator-ramp-delay = <100000>;
					regulator-always-on; /* Check this */
					regulator-boot-on;
					maxim,active-fps-source = <MAX77620_FPS_SRC_0>;
					maxim,active-fps-power-up-slot = <1>;
					maxim,active-fps-power-down-slot = <7>;
				};

				pp2800l_fcam: ldo5 {
					regulator-name = "PP2800L_FCAM";
					regulator-min-microvolt = <2800000>;
					regulator-max-microvolt = <2800000>;
					regulator-enable-ramp-delay = <62>;
					regulator-ramp-delay = <100000>;
					maxim,active-fps-source = <MAX77620_FPS_SRC_NONE>;
					maxim,active-fps-power-up-slot = <0>;
					maxim,active-fps-power-down-slot = <7>;
				};

				ldo6 {
					/* Unused. */
					regulator-name = "PP_LDO6";
					regulator-min-microvolt = <1800000>;
					regulator-max-microvolt = <1800000>;
					regulator-enable-ramp-delay = <36>;
					regulator-ramp-delay = <100000>;
					maxim,active-fps-source = <MAX77620_FPS_SRC_NONE>;
					maxim,active-fps-power-up-slot = <0>;
					maxim,active-fps-power-down-slot = <7>;
				};

				pp1050_avdd: ldo7 {
					regulator-name = "PP1050_AVDD";
					regulator-min-microvolt = <1050000>;
					regulator-max-microvolt = <1050000>;
					regulator-enable-ramp-delay = <24>;
					regulator-ramp-delay = <100000>;
					regulator-always-on;
					regulator-boot-on;
					maxim,active-fps-source = <MAX77620_FPS_SRC_1>;
					maxim,active-fps-power-up-slot = <3>;
					maxim,active-fps-power-down-slot = <4>;
				};

				avddio_1v05: ldo8 {
					regulator-name = "AVDDIO_1V05";
					regulator-min-microvolt = <1050000>;
					regulator-max-microvolt = <1050000>;
					regulator-enable-ramp-delay = <22>;
					regulator-ramp-delay = <100000>;
					regulator-boot-on;
					maxim,active-fps-source = <MAX77620_FPS_SRC_NONE>;
					maxim,active-fps-power-up-slot = <0>;
					maxim,active-fps-power-down-slot = <7>;
				};
			};
		};
	};

	i2c@7000d100 {
		status = "okay";
		clock-frequency = <400000>;
#if 0
		audio-codec@2d {
			compatible = "realtek,rt5677";
			reg = <0x2d>;
			interrupt-parent = <&gpio>;
			interrupts = <TEGRA_GPIO(X, 0) IRQ_TYPE_LEVEL_HIGH>;
			realtek,reset-gpio = <&gpio TEGRA_GPIO(BB, 3) GPIO_ACTIVE_LOW>;
			gpio-controller;
			#gpio-cells = <2>;
			status = "okay";
		};
#endif
	};

	pmc@7000e400 {
		nvidia,invert-interrupt;
		nvidia,suspend-mode = <0>;
		nvidia,cpu-pwr-good-time = <0>;
		nvidia,cpu-pwr-off-time = <0>;
		nvidia,core-pwr-good-time = <12000 6000>;
		nvidia,core-pwr-off-time = <39053>;
		nvidia,core-power-req-active-high;
		nvidia,sys-clock-req-active-high;
		status = "okay";
	};

#if 0
	usb@70090000 {
		phys = <&{/padctl@7009f000/pads/usb2/lanes/usb2-0}>,
		       <&{/padctl@7009f000/pads/pcie/lanes/pcie-6}>;
		phy-names = "usb2-0", "usb3-0";

		dvddio-pex-supply = <&avddio_1v05>;
		hvddio-pex-supply = <&pp1800>;
		avdd-usb-supply = <&pp3300>;
		avdd-pll-utmip-supply = <&pp1800>;
		avdd-pll-uerefe-supply = <&pp1050_avdd>;
		dvdd-pex-pll-supply = <&avddio_1v05>;
		hvdd-pex-pll-e-supply = <&pp1800>;

		status = "okay";
	};

	padctl@7009f000 {
		status = "okay";

		pads {
			usb2 {
				status = "okay";

				lanes {
					usb2-0 {
						nvidia,function = "xusb";
						status = "okay";
					};
				};
			};

			pcie {
				status = "okay";

				lanes {
					pcie-6 {
						nvidia,function = "usb3-ss";
						status = "okay";
					};
				};
			};
		};

		ports {
			usb2-0 {
				status = "okay";
				vbus-supply = <&usbc_vbus>;
				mode = "otg";
			};

			usb3-0 {
				nvidia,usb2-companion = <0>;
				status = "okay";
			};
		};
	};
#endif

	/* eMMC */
	sdhci@700b0600 {
		status = "okay";
		bus-width = <8>;
		non-removable;
	};

	sdhci@700b0000 {
		status = "okay";
		bus-width = <4>;
		no-1-8-v;

		cd-gpios = <&gpio TEGRA_GPIO(Z, 1) GPIO_ACTIVE_LOW>;

		vqmmc-supply = <&pp_ldo2>;
		vmmc-supply = <&vdd_3v3_sd>;
	};

	aconnect@702c0000 {
		status = "okay";

		dma@702e2000 {
			status = "okay";
		};

		agic@702f9000 {
			status = "okay";
		};
	};

	clocks {
		compatible = "simple-bus";
		#address-cells = <1>;
		#size-cells = <0>;

		clk32k_in: clock@0 {
			compatible = "fixed-clock";
			reg = <0>;
			#clock-cells = <0>;
			clock-frequency = <32768>;
		};
	};
	
	// Horizon OS's TrustZone component uses PSCIv0.1 with custom IDs.
    // Additionally, it uses SMC #1 instead of SMC #0
    psci {
        compatible = "arm,psci";
		status = "okay";
		method = "smc";
		cpu_suspend	= <0xC4000001>;
		cpu_off		= <0x84000002>;
		cpu_on		= <0xC4000003>;
	};

	cpus {
		cpu@0 {
			enable-method = "psci";
			status = "okay";
		};

		cpu@1 {
			enable-method = "psci";
			status = "okay";
		};

		cpu@2 {
			enable-method = "psci";
			status = "okay";
		};

		cpu@3 {
			enable-method = "psci";
			status = "okay";
		};
	};

    gpio-keys {
		compatible = "gpio-keys";
		gpio-keys,name = "gpio-keys";

		power {
			label = "Power";
			gpios = <&gpio TEGRA_GPIO(X, 5) GPIO_ACTIVE_LOW>;
			linux,code = <KEY_POWER>;
			debounce-interval = <30>;
			wakeup-source;
		};

		volume_down {
			label = "Volume Down";
			gpios = <&gpio TEGRA_GPIO(X, 7) GPIO_ACTIVE_LOW>;
			linux,code = <KEY_VOLUMEDOWN>;
		};

		volume_up {
			label = "Volume Up";
			gpios = <&gpio TEGRA_GPIO(X, 6) GPIO_ACTIVE_LOW>;
			linux,code = <KEY_VOLUMEUP>;
		};
	};

	regulators {
		compatible = "simple-bus";
		device_type = "fixed-regulators";
		#address-cells = <1>;
		#size-cells = <0>;

		ppvar_sys: regulator@0 {
			compatible = "regulator-fixed";
			reg = <0>;
			regulator-name = "PPVAR_SYS";
			regulator-min-microvolt = <4400000>;
			regulator-max-microvolt = <4400000>;
			regulator-always-on;
		};

		pp3000_always: regulator@2 {
			compatible = "regulator-fixed";
			reg = <2>;
			regulator-name = "PP3000_ALWAYS";
			regulator-min-microvolt = <3000000>;
			regulator-max-microvolt = <3000000>;
			regulator-always-on;
		};

		pp3300: regulator@3 {
			compatible = "regulator-fixed";
			reg = <3>;
			regulator-name = "PP3300";
			regulator-min-microvolt = <3300000>;
			regulator-max-microvolt = <3300000>;
			regulator-boot-on;
			regulator-always-on;
			enable-active-high;
		};

		pp5000: regulator@4 {
			compatible = "regulator-fixed";
			reg = <4>;
			regulator-name = "PP5000";
			regulator-min-microvolt = <5000000>;
			regulator-max-microvolt = <5000000>;
			regulator-always-on;
		};

        max77620_gpio7: regulator@5 {
			compatible = "regulator-fixed";
			reg = <5>;
			regulator-name = "max77620-gpio7";
			regulator-min-microvolt = <1200000>;
			regulator-max-microvolt = <1200000>;
			regulator-boot-on;
			gpio = <&max77620 7 0>;
			enable-active-high;
			regulator-always-on;
			regulator-enable-ramp-delay = <240>;
			regulator-disable-ramp-delay = <11340>;
		};

		vdd_3v3_sd: regulator@6 {
			compatible = "regulator-fixed";
			reg = <6>;
			regulator-name = "VDD_3V3_SD";
			regulator-min-microvolt = <3300000>;
			regulator-max-microvolt = <3300000>;
			gpio = <&gpio TEGRA_GPIO(E, 4) GPIO_ACTIVE_HIGH>;
			enable-active-high;
			vin-supply = <&pp3300>;

			regulator-enable-ramp-delay = <472>;
			regulator-disable-ramp-delay = <4880>;
		};

		usbc_vbus: regulator@7 {
			compatible = "regulator-fixed";
			reg = <7>;
			regulator-name = "USBC_VBUS";
			regulator-min-microvolt = <5000000>;
			regulator-max-microvolt = <5000000>;
		};

		pp5000_bl_avdd: regulator@11 {
			compatible = "regulator-fixed";
			reg = <11>;
			regulator-name = "pp5000_bl_avdd";
			regulator-min-microvolt = <5400000>;
			regulator-max-microvolt = <5400000>;
		};
		
        lcd_dummy: regulator@12 {
			compatible = "regulator-fixed";
			reg = <12>;
			regulator-name = "LCD_DUMMY";
			regulator-min-microvolt = <1800000>;
			regulator-max-microvolt = <1800000>;
		};
	};

    host1x@50000000 {
		dsi@54300000 {
			status = "okay";

			avdd-dsi-csi-supply = <&lcd_dummy>;

			panel@0 {
				compatible = "nintendo,hac-720p";
				reg = <0>;

                bl-gpio = <&gpio TEGRA_GPIO(V, 0) GPIO_ACTIVE_HIGH>;
				enable-gpio = <&gpio TEGRA_GPIO(V, 1) GPIO_ACTIVE_HIGH>;
				reset-gpio = <&gpio TEGRA_GPIO(V, 2) GPIO_ACTIVE_HIGH>;
				pvdd-gpio = <&gpio TEGRA_GPIO(I, 0) GPIO_ACTIVE_HIGH>;
				nvdd-gpio = <&gpio TEGRA_GPIO(I, 1) GPIO_ACTIVE_HIGH>;
				panel-boot-on;
			};
		};
	};
};
